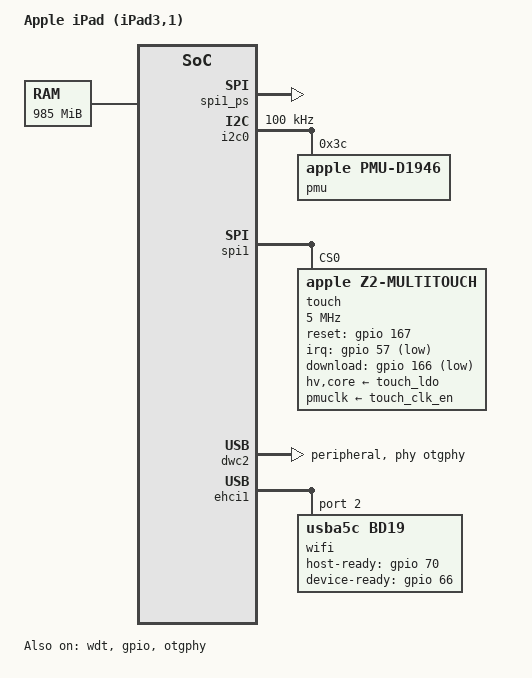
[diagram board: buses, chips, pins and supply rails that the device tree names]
// SPDX-License-Identifier: GPL-2.0 OR MIT
/*
 * Apple iPad (3rd generation) Wi-Fi -- iPad3,1 / J1AP / S5L8945X (Apple A5X).
 *
 * Booted on hardware, RAM only, from a Cascadia-style chain: iBSS and iBEC
 * from the iPad3,1 9.3.5 (13G36) IPSW, a raw-jump loader and Linux 6.12
 * with this repository's drivers.  Addresses come from that IPSW's device
 * tree (src/adt_to_dts.py).  docs/research/j1-a5x.md has the boot chain,
 * what was measured and what is not done.
 *
 * What the A5X shares with the iPad mini's A5, closely enough for the same
 * drivers: arm-io at 0x30000000, AIC at 0x0f200000, UART0 at 0x02500000
 * IRQ 21, DWC2 at usb-complex+0 (0x06100000, IRQ 11, 14 EPs, fifo-depth
 * 0x820), OTG PHY at 0x06000000, PMGR at 0x0f100000, watchdog tick at
 * 0x0f103020 IRQ 4, PL310 at 0x3e000000, GPIO at 0x0fa00000.
 *
 * What it does not: 1 GiB of DRAM; a D1974 PMU in place of the D1946; the
 * pmgr's device-clocks entries are 44 bytes, not 36, so the power-state
 * registers are elsewhere; the panel is eDP behind a highland-park scaler,
 * not MIPI-DSI; Wi-Fi is a BCM4330 on a second USB complex.
 *
 * The 30-pin dock connector carries no UART0; the console is the USB
 * gadget (g_cdc), as on the mini.
 */

/dts-v1/;

/ {
	compatible = "apple,j1ap", "apple,s5l8945x", "apple,s5l8940x", "apple,arm";
	model = "Apple iPad (iPad3,1)";
	#address-cells = <1>;
	#size-cells = <1>;
	interrupt-parent = <&aic>;

	aliases {
		serial0 = &uart0;
	};

	chosen {
		/*
		 * The 30-pin cable does not carry UART0, and earlycon on that
		 * port spins forever if iBoot left the UART clock off, so the
		 * first console is the gadget's ACM port. maxcpus=1 keeps CPU1
		 * parked (SMP on the A5X is not tried yet). SMP stays compiled
		 * in: turning it off selects the A9 global timer, which has no
		 * clock here. lpj is the 1 GHz A5's; the A5X is 1 GHz too.
		 * rdinit=/init is the initramfs linked into the zImage; an empty
		 * external initrd here would make the kernel look for a second
		 * archive.
		 */
		bootargs = "console=ttyGS0,115200 maxcpus=1 lpj=5000000 rdinit=/init panic=10 loglevel=8 ignore_loglevel g_cdc.host_addr=02:10:5a:31:00:01 g_cdc.dev_addr=02:10:5a:31:00:02";
	};

	/*
	 * S5L894x DRAM starts at 0x80000000. iPad3,1 has 1 GiB
	 * (hw.memsize 1034944512, and this iBEC is linked at 0xBFF00000,
	 * 1 MiB under the 0xC0000000 end). The static ADT memory node is
	 * zero. The top 16 MiB is left out until the live scanout address
	 * is known: a 2048x1536x4 framebuffer is 12 MiB, and iBEC itself
	 * sits at 0xBFF00000 while it hands off.
	 */
	/*
	 * RAM starts 2 MiB in. TEXT_OFFSET is 0x208000 (multi_v7), so the
	 * kernel sits at 0x80208000 and PHYS_OFFSET stays 0x80000000. If the
	 * no-map reset page below were inside this node, it would become
	 * memblock region 0, and prepare_page_table clears every kernel
	 * mapping past the end of region 0, including the running kernel.
	 */
	memory@80200000 {
		device_type = "memory";
		reg = <0x80200000 0x3d900000>;
	};

	/*
	 * iBoot's scanout, as a search of RAM from the loader found it:
	 * base 0xbdb00000, pitch 8192 (2048 x 4), 1536 rows = 12 MiB. It
	 * is iBoot's choice, not the ADT's (whose framebuffer values are
	 * zero), so check it if the boot chain changes. RAM above it stays
	 * out of the memory node so the kernel never hands these pages out.
	 */
	framebuffer@bdb00000 {
		compatible = "simple-framebuffer";
		reg = <0xbdb00000 0xc00000>;
		width = <2048>;
		height = <1536>;
		stride = <8192>;
		format = "x8r8g8b8";
	};

	reserved-memory {
		#address-cells = <1>;
		#size-cells = <1>;
		ranges;

		cpu_reset_page: cpu-reset@80000000 {
			reg = <0x80000000 0x1000>;
			no-map;
		};
	};

	cpus {
		#address-cells = <1>;
		#size-cells = <0>;
		apple,cpu-reset-page = <&cpu_reset_page>;

		cpu0: cpu@a00 {
			device_type = "cpu";
			compatible = "arm,cortex-a9";
			reg = <0xa00>;
			enable-method = "apple,pmgr-core";
		};

		cpu1: cpu@a01 {
			device_type = "cpu";
			compatible = "arm,cortex-a9";
			reg = <0xa01>;
			enable-method = "apple,pmgr-core";
		};
	};

	uart_clk: clock-24000000 {
		compatible = "fixed-clock";
		#clock-cells = <0>;
		clock-frequency = <24000000>;
	};

	soc: soc@30000000 {
		compatible = "simple-bus";
		#address-cells = <1>;
		#size-cells = <1>;
		ranges = <0x0 0x30000000 0x10000000>;

		aic: interrupt-controller@f200000 {
			compatible = "aic,1";
			reg = <0xf200000 0x10000>;
			interrupt-controller;
			#interrupt-cells = <1>;
			#address-cells = <0>;
			apple,main-cpus = <2>;
		};

		uart0: serial@2500000 {
			compatible = "apple,s5l-uart", "samsung,s3c6400-uart";
			reg = <0x2500000 0x1000>;
			interrupts = <21>;
			clocks = <&uart_clk>, <&uart_clk>;
			clock-names = "uart", "clk_uart_baud0";
			status = "disabled";
		};

		wdt: timer@f103020 {
			compatible = "apple,s5l8940x-wdt-timer";
			reg = <0xf103020 0x10>;
			interrupts = <4>;
			clock-frequency = <24000000>;
			status = "okay";
		};

		pmgr: power-management@f100000 {
			compatible = "apple,s5l8940x-pmgr", "syscon";
			reg = <0xf100000 0x7000>;
			status = "disabled";
		};

		/*
		 * ADT /arm-io/gpio is gpio,s5l8945x at
		 * 0xfa00000, irq 119, 28 ports of 8 = 224 pins, the same block
		 * as the mini's.
		 */
		gpio: gpio@fa00000 {
			compatible = "apple,s5l8940x-gpio";
			reg = <0xfa00000 0x1000>;
			interrupts = <119>;
			gpio-controller;
			#gpio-cells = <2>;
			interrupt-controller;
			#interrupt-cells = <2>;
			#address-cells = <0>;
			pin-count = <224>;
			interrupt-groups = <1>;
			status = "okay";
		};

		/* SPI1's power-state switch. The pmgr node's device-clocks
		 * entries are 44 bytes on the A5X (36 on the A5); SPI1 (gate
		 * id 68) has power-state index 0x41 at +0x0c, so the register
		 * is PMGR + 0x1000 + 0x41 * 4. The mini's 0x3f1010e8 is another
		 * device here. Measured: 0x200 off, 0x2ff once 0xf is asked. */
		spi1_ps: spi1-ps@f101104 {
			compatible = "apple,s5l8940x-pmgr-clk-gate";
			#clock-cells = <0>;
			reg = <0xf101104 0x4>;
			clocks = <&uart_clk>;
			clock-output-names = "spi1_ps";
		};

		/* ADT /arm-io/i2c0: i2c,s5l8945x, irq 18, clock-gates 0x50. */
		i2c0: i2c@3200000 {
			compatible = "apple,s5l8940x-i2c";
			reg = <0x3200000 0x1000>;
			clock-frequency = <100000>;
			interrupts = <18>;
			clocks = <&uart_clk>;
			clock-names = "i2c";
			#address-cells = <1>;
			#size-cells = <0>;
			status = "okay";

			/*
			 * ADT pmu,d1974 at 0x3c. It takes an 8-bit register
			 * address like the mini's D1946, so it binds as one. No
			 * gpio-controller (the D1946 GPIO base 0x61 is 0x64 here)
			 * and no system-power-controller (the D1946 power-off
			 * masks are not checked against this chip).
			 */
			pmu: pmu@3c {
				compatible = "apple,pmu-d1946";
				reg = <0x3c>;
				#address-cells = <1>;
				#size-cells = <0>;

				/* function-power_ldo 0x200: LDO index 0. The
				 * AppleD1974PMU LDO table (0x8118de34) gives enable
				 * register 0x23 bit 0x20; voltage stays iBoot's. */
				touch_ldo: touch_ldo@23 {
					compatible = "apple,pmu-pwrsw";
					reg = <0x23>;
					mask = <0x20>;
					enable = <0x20>;
				};

				/* function-clock_enable: PMU GPIO 0, config register
				 * 0x64. Not a level: with touch running, iOS's
				 * AppleRegisterDump reads 0x51 here (Linux boots with
				 * 0x11), i.e. mode bits 7:5 = 010 -- the PMU's 32 kHz
				 * clock out on the pin. Driving it as a high output
				 * (0x13) let the bootloader run but the firmware never
				 * came up after EXECUTE. */
				touch_clk_en: touch_clk_en@64 {
					compatible = "apple,pmu-pwrsw";
					reg = <0x64>;
					mask = <0x40>;
					enable = <0x40>;
				};

				/*
				 * No backlight node yet. The D1974's LED DAC is 11
				 * bits like the D1946's, but at 0xd3 (bits 10:3) and
				 * 0xd4 (bits 2:0), with the string enable at 0xd5
				 * (0x3f with the panel lit) -- AppleD1974PMU's
				 * backlight update. 0xd0/0xd1, the mini's DAC, are
				 * something else on this chip. apple-pmu-wled with
				 * reg 0xd3 and apple,enable-reg 0xd5 should fit, but
				 * has not been run here.
				 */
			};
		};

		/* ADT /arm-io/spi1: spi-1,samsung, irq 29, clock-gates 68. */
		spi1: spi@2100000 {
			compatible = "apple,s5l8940x-spi";
			reg = <0x2100000 0x1000>;
			interrupts = <29>;
			clocks = <&spi1_ps>;
			#address-cells = <1>;
			#size-cells = <0>;
			status = "okay";

			/* ADT multi-touch,j1. GPIOs are (port << 8) | pin:
			 * reset 0x1407 = 167, enable_cs 0x907 = 79, ATTN 57. It
			 * has one LDO, so hv and core are the same switch. The
			 * driver insists on a clock; the 24 MHz reference is a
			 * no-op stand-in (the real 32k clock is the PMU GPIO). */
			touch@0 {
				compatible = "apple,z2-multitouch";
				reg = <0>;
				spi-max-frequency = <5000000>;
				hv-supply = <&touch_ldo>;
				core-supply = <&touch_ldo>;
				pmuclk-supply = <&touch_clk_en>;
				reset-gpios = <&gpio 167 0>;
				cs-gpios = <&gpio 79 0>;
				irq-gpios = <&gpio 57 1>;
				/* function-enable_download 0x1406 = 166, active-low
				 * (measured: driven high the chip never enters HBPP).
				 * The boot tool drives it via HXT_IOC_SET_DL. */
				download-gpios = <&gpio 166 1>;
				clocks = <&uart_clk>;
			};
		};

		/*
		 * Display pipeline, recorded and left off. The mini's node
		 * here is MIPI-DSI. This ADT's panel is eDP (edp@9500000,
		 * max 4 lanes) fed by CLCD, with a highland-park block at
		 * 0xb020000 that the mini does not have. simplefb can reuse
		 * iBoot's scanout once its base is known; it cannot be copied
		 * from the mini's 768x1024 region at 0x9f6fc000.
		 */
		clcd: display-controller@a100000 {
			compatible = "apple,s5l8940x-clcd";
			reg = <0xa100000 0x7000>;
			interrupts = <43 42>;
			status = "disabled";
		};

		otgphy: phy@6000000 {
			compatible = "apple,s5l8940x-otgphy";
			reg = <0x6000000 0x1000>,
			      <0xf108000 0x1000>;
			#phy-cells = <1>;
			status = "okay";
		};

		dwc2: usb@6100000 {
			compatible = "apple,s5l8940x-dwc2", "snps,dwc2";
			reg = <0x6100000 0x10000>;
			interrupts = <11>;
			phys = <&otgphy 0>;
			phy-names = "usb2-phy";
			dr_mode = "peripheral";
			g-rx-fifo-size = <512>;
			g-np-tx-fifo-size = <128>;
			g-tx-fifo-size = <128 128 128 128 128 128 128 128>;
			status = "okay";
		};

		/*
		 * Wi-Fi: the second USB complex's EHCI, ADT
		 * usb1-complex/usb1-ehci at 0x36c00000, irq 162. Its PHY
		 * (otgphyctrl1, 0x36800000) is left off by iBoot and has no
		 * Linux driver yet, so for now it is powered by hand (PMGR,
		 * PHY, USB_CTL, then REG_ON; docs/research/j1-a5x.md) and this
		 * controller is bound again after that -- the probe at boot
		 * fails -110 while the domain is off. The BCM4330 is on HSIC
		 * port 2.
		 */
		ehci1: usb@6c00000 {
			compatible = "apple,s5l8945x-ehci", "generic-ehci";
			reg = <0x6c00000 0x10000>;
			interrupts = <162>;
			apple,hsic-ports = <0x2>;
			#address-cells = <1>;
			#size-cells = <0>;
			status = "okay";

			/* Out-of-band lines (ADT wlan): HOST_READY 0x806 = 70,
			 * DEVICE_READY 0x802 = 66. The BCM4330 B2's boot ROM
			 * enumerates as 0a5c:bd19 ("s=B2 P=J2 p=3.1"). */
			wifi@2 {
				compatible = "usba5c,bd19";
				reg = <2>;
				apple,host-ready-gpios = <&gpio 70 0>;
				apple,device-ready-gpios = <&gpio 66 0>;
			};
		};
	};
};
